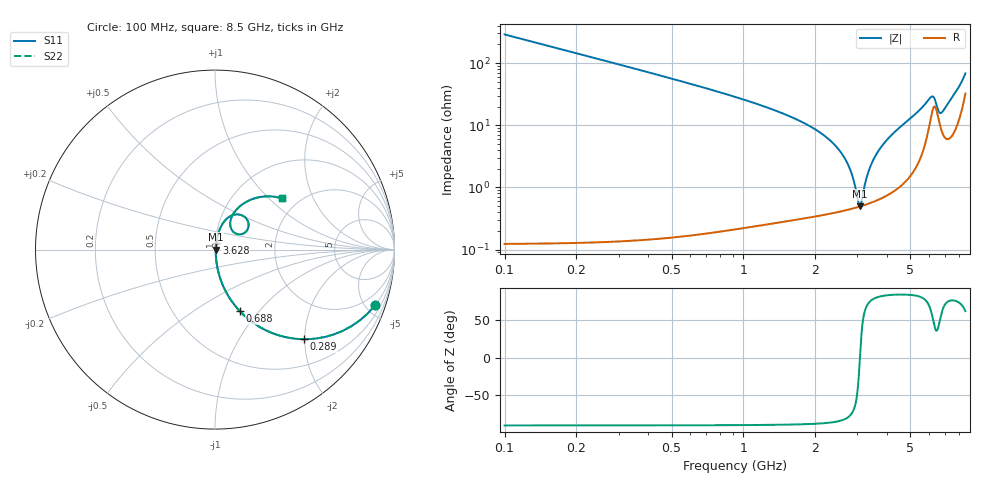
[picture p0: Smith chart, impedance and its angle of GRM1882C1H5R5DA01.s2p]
!Murata Part Number: GRM1882C1H5R5DA01
!These Parameters are Measured in Series Mode Connection
!Data Generated on Mar 30, 2021
!  o--ll--o
!Port1  Port2
!  o------o
!Operation Temp=25[degC], DC Bias Voltage=0[V]
!Freq. Start=100[MHz] Stop=9[GHz] 401[Steps]
# Hz S RI R 50
!Freq.(Hz) S11(Real) S11(Imag) S21(Real) S21(Imag) S12(Real) S12(Imag) S22(Real) S22(Imag)
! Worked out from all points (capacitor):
!   401 points, 100 MHz to 8.5 GHz, reference 50 ohm
!   read as one part in series: C = 5.5 pF near 142 MHz
!   lowest |Z| = 498 mohm at 3.082 GHz (marker M1)
!   series resonance near 3.074 GHz, so ESL is about 490 pH
!   S11 on the Smith chart (normalised r, x): 100 MHz: 1.00, -5.78; 289 MHz: 1.00, -1.99; 688 MHz: 1.00, -0.80; 3.628 GHz: 1.01, +0.07; 8.5 GHz: 1.65, +1.20
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1e8  0.893 -0.3089  0.107 0.3089  0.107 0.3089  0.893 -0.3089
2.05e8  0.6638 -0.472  0.3362 0.472  0.3362 0.472  0.6638 -0.472
2.89e8  0.4963 -0.4993  0.5037 0.4993  0.5037 0.4993  0.4963 -0.4993
4.57e8  0.2779 -0.4468  0.7221 0.4468  0.7221 0.4468  0.2779 -0.4468
6.88e8  0.1392 -0.3439  0.8608 0.3439  0.8608 0.3439  0.1392 -0.3439
1.507e9  0.0241 -0.1439  0.9759 0.1439  0.9759 0.1439  0.0241 -0.1439
2.095e9  0.00924 -0.0753  0.9908 0.0753  0.9908 0.0753  0.00924 -0.0753
2.473e9  0.00583 -0.0428  0.9942 0.0428  0.9942 0.0428  0.00583 -0.0428
2.725e9  0.00491 -0.0239  0.9951 0.0239  0.9951 0.0239  0.00491 -0.0239
2.914e9  0.00475 -0.0107  0.9952 0.0107  0.9952 0.0107  0.00475 -0.0107
3.019e9  0.00483 -0.00365  0.9952 0.00365  0.9952 0.00365  0.00483 -0.00365
3.082e9  0.00493 0.000504  0.9951 -0.000504  0.9951 -0.000504  0.00493 0.000504
3.334e9  0.00572 0.0166  0.9943 -0.0166  0.9943 -0.0166  0.00572 0.0166
3.628e9  0.00739 0.0348  0.9926 -0.0348  0.9926 -0.0348  0.00739 0.0348
4.3e9  0.0146 0.0759  0.9854 -0.0759  0.9854 -0.0759  0.0146 0.0759
5.707e9  0.0776 0.1814  0.9224 -0.1814  0.9224 -0.1814  0.0776 0.1814
6.19e9  0.1801 0.1643  0.8199 -0.1643  0.8199 -0.1643  0.1801 0.1643
6.442e9  0.1547 0.0881  0.8453 -0.0881  0.8453 -0.0881  0.1547 0.0881
6.673e9  0.0996 0.1017  0.9004 -0.1017  0.9004 -0.1017  0.0996 0.1017
7.114e9  0.0898 0.1736  0.9102 -0.1736  0.9102 -0.1736  0.0898 0.1736
7.87e9  0.1825 0.2702  0.8175 -0.2702  0.8175 -0.2702  0.1825 0.2702
8.5e9  0.3741 0.2848  0.6259 -0.2848  0.6259 -0.2848  0.3741 0.2848
